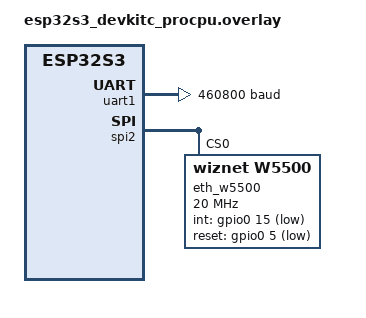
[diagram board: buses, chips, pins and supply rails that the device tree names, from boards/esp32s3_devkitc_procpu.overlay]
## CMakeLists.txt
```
# SPDX-License-Identifier: Apache-2.0

cmake_minimum_required(VERSION 3.28.0)

find_package(Zephyr REQUIRED HINTS $ENV{ZEPHYR_BASE})
project(openthread_border_router)

FILE(GLOB app_sources src/main.c)

target_sources_ifdef(CONFIG_SHIELD_NXP_M2_2EL_2LL_IEEE802154 app PRIVATE
    boards/mimxrt1060_evk_mimxrt1062_qspi_C/src/iw61x_init.c
)

# add Web Server source files
if(CONFIG_OTBR_WEB_SERVER)
  set(gen_dir ${ZEPHYR_BINARY_DIR}/include/generated/)

  if(${CONFIG_OPENTHREAD_NET_DIAG_VENDOR_NAME} STREQUAL "NXP")
    set(VENDOR_LOGO "nxp_logo.png")
  else()
    set(VENDOR_LOGO "zephyr_logo.png")
  endif()

  file(READ ${CMAKE_CURRENT_SOURCE_DIR}/src/web_server/static_web_resources/index.html INDEX_HTML_CONTENT)
  string(REPLACE "@BOARD_NAME@" "${CONFIG_OPENTHREAD_NET_DIAG_VENDOR_MODEL}" INDEX_HTML_CONTENT "${INDEX_HTML_CONTENT}")
  file(WRITE ${CMAKE_CURRENT_BINARY_DIR}/index.html "${INDEX_HTML_CONTENT}")

  generate_inc_file_for_target(app
    ${CMAKE_CURRENT_BINARY_DIR}/index.html
    ${gen_dir}/index.html.gz.inc
    --gzip
  )
  generate_inc_file_for_target(app
    src/web_server/static_web_resources/images/${VENDOR_LOGO}
    ${gen_dir}/images/vendor_logo.png.gz.inc
    --gzip
  )

  foreach(web_resource
    style.css
    app.js
    images/zephyr_logo.png
  )
  generate_inc_file_for_target(app
  src/web_server/static_web_resources/${web_resource}
  ${gen_dir}/${web_resource}.gz.inc
  --gzip
  )
  endforeach()

  message(STATUS "Adding Web Server and Rest APIs source files")
  list(APPEND app_sources src/web_server/web_server.c)
  list(APPEND app_sources src/web_server/rest_api.c)

  message(STATUS "Adding HTTP resource linker sections")
  zephyr_linker_sources(SECTIONS src/web_server/sections-rom.ld)
endif()

target_sources(app PRIVATE ${app_sources})
```

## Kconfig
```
# Private config options for OpenThread Border Router sample app

# Copyright 2025 NXP
# SPDX-License-Identifier: Apache-2.0

mainmenu "OpenThread Border Router sample application"

config OTBR_WEB_SERVER
	bool "Enable HTTP web server and REST API"
	help
	  Manage OpenThread Border Router with web interface.

module = OTBR
module-str = OpenThread Border Router
module-help = Enables logging for OpenThread Border Router sample
source "subsys/logging/Kconfig.template.log_config"

source "samples/net/common/Kconfig"
source "Kconfig.zephyr"
```

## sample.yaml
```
common:
  harness: net
  tags:
    - net
    - openthread
  depends_on: openthread
sample:
  description: Test Wi-Fi and IEEE 802.15.4 using the OpenThread Border Router
  name: OpenThread Border Router
tests:
  sample.net.openthread.border_router.rw612_openthread_rcp_host:
    build_only: true
    extra_args:
      # Disabling monolithic since CI environment doesn't use blobs
      - CONFIG_NXP_MONOLITHIC_NBU=n
      - CONFIG_NXP_MONOLITHIC_WIFI=n
      - EXTRA_CONF_FILE="overlay-ot-rcp-host-wifi-nxp.conf"
    platform_allow:
      - frdm_rw612
      - rd_rw612_bga
  sample.net.openthread.border_router.esp_rcp_host_wifi:
    build_only: true
    extra_args:
      - EXTRA_CONF_FILE="overlay-ot-rcp-host-wifi-esp.conf"
    platform_allow:
      - esp32s3_devkitc/esp32s3/procpu
      - esp_threadbr/esp32s3/procpu
  sample.net.openthread.border_router.esp_rcp_host_eth.esp_devkits:
    build_only: true
    extra_args:
      - EXTRA_CONF_FILE="overlay-ot-rcp-host-eth-esp.conf"
    platform_allow:
      - esp32s3_devkitc/esp32s3/procpu
  sample.net.openthread.border_router.esp_rcp_host_eth.esp_threadbr:
    build_only: true
    extra_args:
      - SHIELD="esp_threadbr_ethernet"
      - EXTRA_CONF_FILE="overlay-ot-rcp-host-eth-esp.conf"
    platform_allow:
      - esp_threadbr/esp32s3/procpu
```

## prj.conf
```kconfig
CONFIG_EARLY_CONSOLE=y
# Generic networking options
CONFIG_NETWORKING=y
CONFIG_NET_UDP=y
CONFIG_NET_TCP=y
CONFIG_NET_IPV6=y
CONFIG_NET_IPV4=y
CONFIG_NET_IPV4_MAPPING_TO_IPV6=y
CONFIG_NET_SOCKETS=y
CONFIG_NET_DHCPV4=y
CONFIG_NET_MGMT_EVENT=y
CONFIG_NET_MGMT_EVENT_INFO=y
CONFIG_NET_MGMT_EVENT_STACK_SIZE=2048
CONFIG_NET_CONNECTION_MANAGER=y
CONFIG_NET_IPV6_ROUTE_MCAST=y
CONFIG_NET_SOCKETS_SERVICE=y
CONFIG_NET_CONTEXT_RECV_PKTINFO=y
CONFIG_NET_CONTEXT_RECV_HOPLIMIT=y
CONFIG_ZVFS_POLL_MAX=16
CONFIG_NET_SOCKETS_SERVICE_STACK_SIZE=12288
CONFIG_NET_MAX_CONN=16
CONFIG_NET_CONNECTION_MANAGER_MONITOR_STACK_SIZE=2048
# Number of socket descriptors might need adjusting
# if there are more than 1 handlers defined.
CONFIG_ZVFS_OPEN_ADD_SIZE_NET_SAMPLE=16

# printing of scan results puts pressure on queues in new locking
# design in net_mgmt. So, use a higher timeout for a crowded
# environment.
CONFIG_NET_MGMT_EVENT_QUEUE_TIMEOUT=5000
CONFIG_NET_MGMT_EVENT_QUEUE_SIZE=16

# Generic OT options
CONFIG_NET_L2_OPENTHREAD=y
CONFIG_OPENTHREAD_SHELL=y
CONFIG_OPENTHREAD_THREAD_VERSION_1_4=y
CONFIG_OPENTHREAD_ZEPHYR_BORDER_ROUTER=y

# Net multicast routing
CONFIG_NET_IPV6_MAX_MCAST_ROUTES=10
CONFIG_NET_IPV6_MCAST_ROUTE_MLD_REPORTS=y
CONFIG_NET_IPV6_NBR_CACHE=y

# Kernel options
CONFIG_MAIN_STACK_SIZE=5120
CONFIG_SHELL_STACK_SIZE=4096
CONFIG_OPENTHREAD_THREAD_STACK_SIZE=8192
CONFIG_LOG_PROCESS_THREAD_STACK_SIZE=4096

CONFIG_NET_TX_STACK_SIZE=4096
CONFIG_NET_RX_STACK_SIZE=4096
CONFIG_NET_MGMT_EVENT_STACK_SIZE=8192
CONFIG_ENTROPY_GENERATOR=y
CONFIG_TEST_RANDOM_GENERATOR=y
CONFIG_INIT_STACKS=y

# Logging
CONFIG_NET_LOG=y
CONFIG_LOG=y
CONFIG_LOG_PROCESS_THREAD=y
CONFIG_NET_STATISTICS=y
CONFIG_PRINTK=y

# Network buffers
CONFIG_NET_PKT_RX_COUNT=16
CONFIG_NET_PKT_TX_COUNT=16
CONFIG_NET_BUF_RX_COUNT=64
CONFIG_NET_BUF_TX_COUNT=64
CONFIG_NET_MAX_CONTEXTS=15
CONFIG_NET_CONTEXT_NET_PKT_POOL=y

# IP address options
CONFIG_NET_IF_UNICAST_IPV6_ADDR_COUNT=6
CONFIG_NET_IF_MCAST_IPV6_ADDR_COUNT=6
CONFIG_NET_IF_MAX_IPV4_COUNT=2
CONFIG_NET_IF_MAX_IPV6_COUNT=6

# DNS resolver required by DNS upstream resolver
CONFIG_DNS_RESOLVER=y
CONFIG_DNS_RESOLVER_PACKET_FORWARDING=y
CONFIG_DNS_RESOLVER_MAX_SERVERS=5
CONFIG_DNS_NUM_CONCUR_QUERIES=8
CONFIG_DNS_RESOLVER_MAX_NAME_LEN=128
CONFIG_DNS_RESOLVER_PRIVATE_RR_SUPPORT=y
CONFIG_DNS_RESOLVER_QUERY_ALL_AVAILABLE_SERVERS=y

CONFIG_SYSTEM_WORKQUEUE_STACK_SIZE=4096
CONFIG_STACK_SENTINEL=y

# OT Border Router flags
CONFIG_OPENTHREAD_BACKBONE_ROUTER_MULTICAST_ROUTING=y
CONFIG_OPENTHREAD_SLAAC=y
CONFIG_OPENTHREAD_ENABLE_SERVICE=y
CONFIG_OPENTHREAD_BORDER_ROUTER=y
CONFIG_OPENTHREAD_BORDER_ROUTING=y
CONFIG_OPENTHREAD_BORDER_ROUTING_COUNTERS=y
CONFIG_OPENTHREAD_BORDER_AGENT=y
CONFIG_OPENTHREAD_BORDER_AGENT_ID=y
CONFIG_OPENTHREAD_NETDATA_PUBLISHER=y
CONFIG_OPENTHREAD_BACKBONE_ROUTER=y
CONFIG_OPENTHREAD_NAT64_TRANSLATOR=y
CONFIG_OPENTHREAD_DNSSD_SERVER=y
CONFIG_OPENTHREAD_EXTERNAL_HEAP=y
CONFIG_OPENTHREAD_JOINER=y
CONFIG_OPENTHREAD_COMMISSIONER=y
CONFIG_OPENTHREAD_PLATFORM_UDP=y
CONFIG_OPENTHREAD_MULTICAST_DNS=y
CONFIG_OPENTHREAD_MAX_STATECHANGE_HANDLERS=3
CONFIG_OPENTHREAD_INTERFACE_EARLY_UP=y
CONFIG_OPENTHREAD_ECDSA=y
CONFIG_OPENTHREAD_IP6_FRAGM=y
CONFIG_OPENTHREAD_COAP=y
CONFIG_OPENTHREAD_SETTINGS_RAM=y
CONFIG_OPENTHREAD_BORDER_AGENT_EPHEMERAL_KEY_ENABLE=y
CONFIG_OPENTHREAD_VERHOEFF_CHECKSUM=y
CONFIG_OPENTHREAD_BORDER_AGENT_MESHCOP_SERVICE=y
CONFIG_OPENTHREAD_TREL=y
CONFIG_OPENTHREAD_TREL_MANAGE_DNSSD=y
CONFIG_OPENTHREAD_BORDER_ROUTING_DHCP6_PD=y
CONFIG_OPENTHREAD_BORDER_ROUTING_DHCP6_PD_CLIENT=y
CONFIG_OPENTHREAD_DHCP6_CLIENT=y
CONFIG_OPENTHREAD_DHCP6_SERVER=y
CONFIG_OPENTHREAD_DNS_UPSTREAM_QUERY=y
CONFIG_OPENTHREAD_SRP_CLIENT=y
CONFIG_OPENTHREAD_SRP_SERVER=y
CONFIG_OPENTHREAD_SRP_ADV_PROXY=y
CONFIG_OPENTHREAD_DNSSD_DISCOVERY_PROXY=y
CONFIG_OPENTHREAD_PING_SENDER=y
CONFIG_OPENTHREAD_LINK_METRICS_INITIATOR=y
CONFIG_OPENTHREAD_DUA=y
CONFIG_OPENTHREAD_MLR=y
CONFIG_OPENTHREAD_DNS_CLIENT=y
CONFIG_OPENTHREAD_DNS_CLIENT_OVER_TCP=y
CONFIG_OPENTHREAD_TCP_ENABLE=y
CONFIG_OPENTHREAD_NETDIAG_VENDOR_INFO=y
CONFIG_OPENTHREAD_LINK_METRICS_SUBJECT=y
CONFIG_OPENTHREAD_LINK_METRICS_MANAGER=y
CONFIG_OPENTHREAD_LINK_METRICS_INITIATOR=y
CONFIG_OPENTHREAD_MAC_FILTER=y
CONFIG_NET_SOCKETS_INET_RAW=y

#PSA related
CONFIG_MBEDTLS_PSA_CRYPTO_LEGACY_RNG=y
```

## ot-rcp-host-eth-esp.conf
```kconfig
#
# Copyright (c) 2026 Espressif Systems (Shanghai) Co., Ltd.
#

CONFIG_SOC_FAMILY_ESPRESSIF_SPIRAM=y
CONFIG_SOC_FAMILY_ESPRESSIF_SPIRAM_BSS_RELOC_LIBS_AND_OBJS="libopenthread-ftd.a libopenthread-cli-ftd.a"

# Generic network options
CONFIG_SPI=y
CONFIG_ETH_DRIVER=y
CONFIG_NET_L2_ETHERNET_MGMT=y

CONFIG_NET_CONFIG_AUTO_INIT=y
CONFIG_NET_CONFIG_NEED_IPV4=y
CONFIG_NET_CONFIG_SETTINGS=y

# lib & os
CONFIG_EVENTS=y

# CPP library
CONFIG_CPP=y

# Use NVS as settings backend
CONFIG_NVS=y

# Shell
CONFIG_SHELL_ARGC_MAX=26
CONFIG_SHELL_CMD_BUFF_SIZE=512
CONFIG_SHELL_STACK_SIZE=5120

# Network shell
CONFIG_NET_SHELL=y
CONFIG_SHELL=y
CONFIG_SHELL_GETOPT=y
CONFIG_SHELL_TAB=y
CONFIG_SHELL_TAB_AUTOCOMPLETION=y

# Enable Openthread RCP host interface
CONFIG_IEEE802154=n
CONFIG_HDLC_RCP_IF=y
CONFIG_OPENTHREAD_MANUAL_START=y
CONFIG_OPENTHREAD_RCP_RESTORATION_MAX_COUNT=10

# Border Router mDNS host name and service base name
CONFIG_OPENTHREAD_ZEPHYR_BORDER_ROUTER_VENDOR_NAME="Espressif Systems"
CONFIG_OPENTHREAD_ZEPHYR_BORDER_ROUTER_BASE_SERVICE_NAME="ESP-BorderRouter"

# As per Thread v1.2.0 Conformance, a Thread Border Router MUST be able to hold a Multicast Listener
# Table in memory with at least 75 entries.
# 75 entries for conformance, 10 extra for other purposes, if any.
CONFIG_NET_IPV6_MAX_MCAST_ROUTES=85
CONFIG_NET_IF_MCAST_IPV6_ADDR_COUNT=85

# Network diagnostics
CONFIG_OPENTHREAD_NET_DIAG_VENDOR_NAME="Espressif Systems"
CONFIG_OPENTHREAD_NET_DIAG_VENDOR_MODEL="ESP-BR"
CONFIG_OPENTHREAD_NET_DIAG_VENDOR_SW_VERSION="v1.0.0"
```

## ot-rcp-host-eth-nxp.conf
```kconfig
#
# Copyright 2025, NXP
#
# Generic Ethernet options
CONFIG_ETH_DRIVER=y
CONFIG_NET_DHCPV4=y
CONFIG_ZVFS_EVENTFD_MAX=2
CONFIG_NET_CONFIG_SETTINGS=y
CONFIG_NET_CONFIG_AUTO_INIT=y
CONFIG_NET_CONFIG_NEED_IPV4=y
CONFIG_NET_CONFIG_NEED_IPV6=n
CONFIG_IEEE802154_NET_IF_NO_AUTO_START=y

# lib & os
CONFIG_EVENTS=y

# CPP library
CONFIG_CPP=y

# Use NVS as settings backend
CONFIG_NVS=y

# IMU & FW loader
CONFIG_NXP_RF_IMU=y
CONFIG_NXP_FW_LOADER=y

# Shell
CONFIG_SHELL_ARGC_MAX=26
CONFIG_SHELL_CMD_BUFF_SIZE=512
CONFIG_SHELL_STACK_SIZE=5120

# Network shell
CONFIG_NET_SHELL=y
CONFIG_SHELL=y

# Enable Openthread RCP host interface
CONFIG_HDLC_RCP_IF=y
CONFIG_OPENTHREAD_MANUAL_START=y
CONFIG_OPENTHREAD_RCP_RESTORATION_MAX_COUNT=10

#Border Router mDNS host name and service base name
CONFIG_OPENTHREAD_ZEPHYR_BORDER_ROUTER_VENDOR_NAME="NXP"
CONFIG_OPENTHREAD_ZEPHYR_BORDER_ROUTER_BASE_SERVICE_NAME="NXP-BorderRouter"

#As per Thread v1.2.0 Conformance, a Thread Border Router MUST be able to hold a Multicast Listener
#Table in memory with at least 75 entries.
#75 entries for conformance, 10 extra for other purposes, if any.
CONFIG_NET_IPV6_MAX_MCAST_ROUTES=85
CONFIG_NET_IF_MCAST_IPV6_ADDR_COUNT=85

# Network diagnostics
CONFIG_OPENTHREAD_NET_DIAG_VENDOR_NAME="NXP"
CONFIG_OPENTHREAD_NET_DIAG_VENDOR_MODEL="RW612"
CONFIG_OPENTHREAD_NET_DIAG_VENDOR_SW_VERSION="v1.0.0"
```

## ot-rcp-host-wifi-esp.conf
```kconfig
#
# Copyright (c) 2026 Espressif Systems (Shanghai) Co., Ltd.
#

CONFIG_SOC_FAMILY_ESPRESSIF_SPIRAM=y
CONFIG_SOC_FAMILY_ESPRESSIF_SPIRAM_BSS_RELOC_LIBS_AND_OBJS="libopenthread-ftd.a libopenthread-cli-ftd.a"

# Generic WIFI options
CONFIG_WIFI=y
CONFIG_WIFI_LOG_LEVEL_ERR=n
CONFIG_NET_L2_WIFI_SHELL=y
CONFIG_ETH_DRIVER=n

CONFIG_NET_CONFIG_AUTO_INIT=y
CONFIG_NET_CONFIG_NEED_IPV4=y
CONFIG_NET_CONFIG_SETTINGS=y

# lib & os
CONFIG_EVENTS=y

# CPP library
CONFIG_CPP=y

# Use NVS as settings backend
CONFIG_NVS=y

# Shell
CONFIG_SHELL_ARGC_MAX=26
CONFIG_SHELL_CMD_BUFF_SIZE=512
CONFIG_SHELL_STACK_SIZE=5120

# Network shell
CONFIG_NET_SHELL=y
CONFIG_SHELL=y
CONFIG_SHELL_GETOPT=y
CONFIG_SHELL_TAB=y
CONFIG_SHELL_TAB_AUTOCOMPLETION=y

# Enable Openthread RCP host interface
CONFIG_IEEE802154=n
CONFIG_HDLC_RCP_IF=y
CONFIG_OPENTHREAD_MANUAL_START=y
CONFIG_OPENTHREAD_RCP_RESTORATION_MAX_COUNT=10

#Border Router mDNS host name and service base name
CONFIG_OPENTHREAD_ZEPHYR_BORDER_ROUTER_VENDOR_NAME="Espressif Systems"
CONFIG_OPENTHREAD_ZEPHYR_BORDER_ROUTER_BASE_SERVICE_NAME="ESP-BorderRouter"

#As per Thread v1.2.0 Conformance, a Thread Border Router MUST be able to hold a Multicast Listener
#Table in memory with at least 75 entries.
#75 entries for conformance, 10 extra for other purposes, if any.
CONFIG_NET_IPV6_MAX_MCAST_ROUTES=85
CONFIG_NET_IF_MCAST_IPV6_ADDR_COUNT=85

# Network diagnostics
CONFIG_OPENTHREAD_NET_DIAG_VENDOR_NAME="Espressif Systems"
CONFIG_OPENTHREAD_NET_DIAG_VENDOR_MODEL="ESP-BR"
CONFIG_OPENTHREAD_NET_DIAG_VENDOR_SW_VERSION="v1.0.0"
```

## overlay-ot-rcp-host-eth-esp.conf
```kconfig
#
# Copyright (c) 2026 Espressif Systems (Shanghai) Co., Ltd.
#

CONFIG_SOC_FAMILY_ESP32_SPIRAM=y
CONFIG_SOC_FAMILY_ESP32_SPIRAM_BSS_RELOC_LIBS_AND_OBJS="libopenthread-ftd.a libopenthread-cli-ftd.a"

# Generic network options
CONFIG_SPI=y
CONFIG_ETH_DRIVER=y
CONFIG_NET_L2_ETHERNET_MGMT=y

CONFIG_NET_CONFIG_AUTO_INIT=y
CONFIG_NET_CONFIG_NEED_IPV4=y
CONFIG_NET_CONFIG_SETTINGS=y

# lib & os
CONFIG_EVENTS=y

# CPP library
CONFIG_CPP=y

# Use NVS as settings backend
CONFIG_NVS=y

# Shell
CONFIG_SHELL_ARGC_MAX=26
CONFIG_SHELL_CMD_BUFF_SIZE=512
CONFIG_SHELL_STACK_SIZE=5120

# Network shell
CONFIG_NET_SHELL=y
CONFIG_SHELL=y
CONFIG_SHELL_GETOPT=y
CONFIG_SHELL_TAB=y
CONFIG_SHELL_TAB_AUTOCOMPLETION=y

# Enable Openthread RCP host interface
CONFIG_IEEE802154=n
CONFIG_HDLC_RCP_IF=y
CONFIG_OPENTHREAD_MANUAL_START=y
CONFIG_OPENTHREAD_RCP_RESTORATION_MAX_COUNT=10

# Border Router mDNS host name and service base name
CONFIG_OPENTHREAD_ZEPHYR_BORDER_ROUTER_VENDOR_NAME="Espressif Systems"
CONFIG_OPENTHREAD_ZEPHYR_BORDER_ROUTER_BASE_SERVICE_NAME="ESP-BorderRouter"

# As per Thread v1.2.0 Conformance, a Thread Border Router MUST be able to hold a Multicast Listener
# Table in memory with at least 75 entries.
# 75 entries for conformance, 10 extra for other purposes, if any.
CONFIG_NET_IPV6_MAX_MCAST_ROUTES=85
CONFIG_NET_IF_MCAST_IPV6_ADDR_COUNT=85

# Network diagnostics
CONFIG_OPENTHREAD_NET_DIAG_VENDOR_NAME="Espressif Systems"
CONFIG_OPENTHREAD_NET_DIAG_VENDOR_MODEL="ESP-BR"
CONFIG_OPENTHREAD_NET_DIAG_VENDOR_SW_VERSION="v1.0.0"
```

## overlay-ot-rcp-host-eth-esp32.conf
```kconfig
#
# Copyright 2025, Espressif Systems
#

CONFIG_ESP_SPIRAM=y

# Generic WIFI options <----
CONFIG_SPI=y
CONFIG_ETH_W5500=y
CONFIG_ETH_DRIVER=y
CONFIG_NET_L2_ETHERNET=y
CONFIG_NET_L2_ETHERNET_MGMT=y
# CONFIG_NET_IPV4_AUTO=y
# CONFIG_NET_IPV4_ACD=y

CONFIG_NET_CONFIG_AUTO_INIT=y
CONFIG_NET_CONFIG_NEED_IPV4=y
CONFIG_NET_CONFIG_SETTINGS=y
CONFIG_NET_DHCPV4=n
CONFIG_NET_CONFIG_MY_IPV4_ADDR="192.168.15.14"
CONFIG_NET_CONFIG_MY_IPV4_NETMASK="255.255.255.0"
CONFIG_NET_CONFIG_MY_IPV4_GW="192.168.15.1"

# lib & os
CONFIG_EVENTS=y

# CPP library
CONFIG_CPP=y

# Use NVS as settings backend
CONFIG_NVS=y

# Shell
CONFIG_SHELL_ARGC_MAX=26
CONFIG_SHELL_CMD_BUFF_SIZE=512
CONFIG_SHELL_STACK_SIZE=5120

# Network shell
CONFIG_NET_SHELL=y
CONFIG_SHELL=y
CONFIG_SHELL_GETOPT=y
CONFIG_SHELL_TAB=y
CONFIG_SHELL_TAB_AUTOCOMPLETION=y

# Enable Openthread RCP host interface
CONFIG_IEEE802154=n
CONFIG_HDLC_RCP_IF=y
CONFIG_OPENTHREAD_MANUAL_START=y
CONFIG_OPENTHREAD_RCP_RESTORATION_MAX_COUNT=10

# CONFIG_OPENTHREAD_PANID=4660
# CONFIG_OPENTHREAD_XPANID="11:11:11:11:22:22:22:22"
# CONFIG_OPENTHREAD_NETWORKKEY="00:11:22:33:44:55:66:77:88:99:aa:bb:cc:dd:ee:ff"
# CONFIG_OPENTHREAD_CHANNEL=15
# CONFIG_OPENTHREAD_NETWORK_NAME="OpenThreadDemo"

#Border Router mDNS host name and service base name
CONFIG_OPENTHREAD_ZEPHYR_BORDER_ROUTER_VENDOR_NAME="Espressif Systems"
CONFIG_OPENTHREAD_ZEPHYR_BORDER_ROUTER_BASE_SERVICE_NAME="ESP-BorderRouter"

#As per Thread v1.2.0 Conformance, a Thread Border Router MUST be able to hold a Multicast Listener
#Table in memory with at least 75 entries.
#75 entries for conformance, 10 extra for other purposes, if any.
CONFIG_NET_MAX_MCAST_ROUTES=85
CONFIG_NET_IF_MCAST_IPV6_ADDR_COUNT=85

# Network diagnostics
CONFIG_OPENTHREAD_NET_DIAG_VENDOR_NAME="Espressif Systems"
CONFIG_OPENTHREAD_NET_DIAG_VENDOR_MODEL="ESP-BR"
CONFIG_OPENTHREAD_NET_DIAG_VENDOR_SW_VERSION="v1.0.0"
```

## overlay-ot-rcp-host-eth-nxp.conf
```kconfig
#
# Copyright 2025, NXP
#
# Generic Ethernet options
CONFIG_ETH_DRIVER=y
CONFIG_NET_L2_ETHERNET=y
CONFIG_NET_DHCPV4=y
CONFIG_ZVFS_EVENTFD_MAX=2
CONFIG_NET_CONFIG_SETTINGS=y
CONFIG_NET_CONFIG_AUTO_INIT=y
CONFIG_NET_CONFIG_NEED_IPV4=y
CONFIG_NET_CONFIG_NEED_IPV6=n
CONFIG_IEEE802154_NET_IF_NO_AUTO_START=y

# lib & os
CONFIG_EVENTS=y

# CPP library
CONFIG_CPP=y

# Use NVS as settings backend
CONFIG_NVS=y

# IMU & FW loader
CONFIG_NXP_RF_IMU=y
CONFIG_NXP_FW_LOADER=y

# Shell
CONFIG_SHELL_ARGC_MAX=26
CONFIG_SHELL_CMD_BUFF_SIZE=512
CONFIG_SHELL_STACK_SIZE=5120

# Network shell
CONFIG_NET_SHELL=y
CONFIG_SHELL=y

# Enable Openthread RCP host interface
CONFIG_HDLC_RCP_IF=y
CONFIG_OPENTHREAD_MANUAL_START=y
CONFIG_OPENTHREAD_RCP_RESTORATION_MAX_COUNT=10

#Border Router mDNS host name and service base name
CONFIG_OPENTHREAD_ZEPHYR_BORDER_ROUTER_VENDOR_NAME="NXP"
CONFIG_OPENTHREAD_ZEPHYR_BORDER_ROUTER_BASE_SERVICE_NAME="NXP-BorderRouter"

#As per Thread v1.2.0 Conformance, a Thread Border Router MUST be able to hold a Multicast Listener
#Table in memory with at least 75 entries.
#75 entries for conformance, 10 extra for other purposes, if any.
CONFIG_NET_IPV6_MAX_MCAST_ROUTES=85
CONFIG_NET_IF_MCAST_IPV6_ADDR_COUNT=85

# Network diagnostics
CONFIG_OPENTHREAD_NET_DIAG_VENDOR_NAME="NXP"
CONFIG_OPENTHREAD_NET_DIAG_VENDOR_MODEL="RW612"
CONFIG_OPENTHREAD_NET_DIAG_VENDOR_SW_VERSION="v1.0.0"
```

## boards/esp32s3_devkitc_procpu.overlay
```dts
/*
 * Copyright (c) 2026 Espressif Systems (Shanghai) Co., Ltd.
 *
 * SPDX-License-Identifier: Apache-2.0
 */

/ {
	chosen {
		zephyr,hdlc-rcp-if = &hdlc_rcp_if;
		zephyr,ot-uart = &uart1;
	};

	hdlc_rcp_if: hdlc_rcp_if {
		compatible = "uart,hdlc-rcp-if";
	};
};

&uart1_default {
	group1 {
		pinmux = <UART1_TX_GPIO17>;
		output-high;
	};

	group2 {
		pinmux = <UART1_RX_GPIO18>;
		bias-pull-up;
	};
};

&uart1 {
	current-speed = <460800>;
	pinctrl-0 = <&uart1_default>;
	pinctrl-names = "default";
	status = "okay";
};

&spim2_default {
	group1 {
		pinmux = <SPIM2_MISO_GPIO2>,
			 <SPIM2_SCLK_GPIO6>,
			 <SPIM2_CSEL_GPIO10>;
	};

	group2 {
		pinmux = <SPIM2_MOSI_GPIO7>;
		output-low;
	};
};

&spi2 {
	pinctrl-0 = <&spim2_default>;
	pinctrl-names = "default";
	status = "okay";

	eth_w5500: eth-w5500@0 {
		compatible = "wiznet,w5500";
		reg = <0x0>;
		spi-max-frequency = <DT_FREQ_M(20)>;
		int-gpios = <&gpio0 15 GPIO_ACTIVE_LOW>;
		reset-gpios = <&gpio0 5 GPIO_ACTIVE_LOW>;
		zephyr,random-mac-address;
		status = "okay";
	};
};

&psram0 {
	size = <DT_SIZE_M(2)>;
};
```

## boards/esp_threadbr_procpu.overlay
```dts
/*
 * Copyright (c) 2026 Espressif Systems (Shanghai) Co., Ltd.
 *
 * SPDX-License-Identifier: Apache-2.0
 */

/ {
	chosen {
		zephyr,hdlc-rcp-if = &hdlc_rcp_if;
		zephyr,ot-uart = &uart1;
	};

	hdlc_rcp_if: hdlc_rcp_if {
		compatible = "uart,hdlc-rcp-if";
	};
};

&psram0 {
	size = <DT_SIZE_M(2)>;
};
```

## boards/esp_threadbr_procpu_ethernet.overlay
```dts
/*
 * Copyright (c) 2026 Espressif Systems (Shanghai) Co., Ltd.
 *
 * SPDX-License-Identifier: Apache-2.0
 */

#include "esp_threadbr_procpu.overlay"
```

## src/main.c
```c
/*
 * Copyright 2025-2026 NXP
 *
 * SPDX-License-Identifier: Apache-2.0
 */

#if defined(CONFIG_OTBR_WEB_SERVER) || defined(CONFIG_HDLC_RCP_IF_SPI_DEFERRED_INIT)
#include <zephyr/logging/log.h>
LOG_MODULE_REGISTER(border_router_main, CONFIG_OTBR_LOG_LEVEL);
#endif

#ifdef CONFIG_OTBR_WEB_SERVER
#include "web_server/web_server.h"
#endif

int main(void)
{
#ifdef CONFIG_OTBR_WEB_SERVER
	/* Setup web server */
	LOG_INF("Zephyr OTBR Web Server setup ...");
	web_server_setup();
#endif

	/* Nothing to do here. The Border Router is automatically started in the background. */

	return 0;
}
```

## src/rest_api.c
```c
/*
 * Copyright (c) 2024 NXP
 * SPDX-License-Identifier: Apache-2.0
 */

#include <zephyr/kernel.h>
#include <zephyr/net/http/server.h>
#include <zephyr/net/http/service.h>
#include <zephyr/logging/log.h>
#include <zephyr/net/openthread.h>
#include <openthread/thread.h>
#include <openthread/dataset.h>
#include <openthread/instance.h>
#include <string.h>
#include <stdio.h>
#include "rest_api.h"

LOG_MODULE_REGISTER(rest_api, LOG_LEVEL_DBG);

/* Helper function to get OpenThread instance */
static otInstance *get_ot_instance(void)
{
    return openthread_get_default_instance();
}

/* REST API: GET /api/status */
int rest_api_status_handler(struct http_client_ctx *client, enum http_data_status status,
                           const struct http_request_ctx *request_ctx,
                           struct http_response_ctx *response_ctx, void *user_data)
{
    static char json_response[1024];

    LOG_DBG("Status API called, status: %d", status);
    if (status == HTTP_SERVER_DATA_FINAL) {
        otInstance *instance = get_ot_instance();
        if (!instance) {
            snprintf(json_response, sizeof(json_response),
                    "{\"error\":\"OpenThread instance not available\"}");
        } else {
            otDeviceRole role = otThreadGetDeviceRole(instance);
            const char *role_str = "unknown";
            
            switch (role) {
                case OT_DEVICE_ROLE_DISABLED: role_str = "disabled"; break;
                case OT_DEVICE_ROLE_DETACHED: role_str = "detached"; break;
                case OT_DEVICE_ROLE_CHILD: role_str = "child"; break;
                case OT_DEVICE_ROLE_ROUTER: role_str = "router"; break;
                case OT_DEVICE_ROLE_LEADER: role_str = "leader"; break;
            }

            uint16_t rloc16 = otThreadGetRloc16(instance);
            uint32_t partition_id = otThreadGetPartitionId(instance);
            uint8_t router_id = otThreadGetLeaderRouterId(instance);

            snprintf(json_response, sizeof(json_response),
                    "{\"status\":\"ok\",\"role\":\"%s\",\"rloc16\":\"0x%04x\",\"partition_id\":%u,\"router_id\":%u,\"thread_enabled\":%s}",
                    role_str, rloc16, partition_id, router_id,
                    otThreadGetDeviceRole(instance) != OT_DEVICE_ROLE_DISABLED ? "true" : "false");
        }
        response_ctx->body = json_response;
        response_ctx->body_len = strlen(json_response);
        response_ctx->final_chunk = true;
    }
    return 0;
}

/* REST API: GET /api/thread/start */
int rest_api_thread_start_handler(struct http_client_ctx *client, enum http_data_status status,
                                 const struct http_request_ctx *request_ctx,
                                 struct http_response_ctx *response_ctx, void *user_data)
{
    static char json_response[256];

    LOG_DBG("Thread start API called, status: %d", status);
    if (status == HTTP_SERVER_DATA_FINAL) {
        otInstance *instance = get_ot_instance();
        if (!instance) {
            snprintf(json_response, sizeof(json_response),
                    "{\"error\":\"OpenThread instance not available\"}");
        } else {
            otError error = otThreadSetEnabled(instance, true);
            if (error != OT_ERROR_NONE) {
                snprintf(json_response, sizeof(json_response),
                        "{\"error\":\"Failed to start Thread\",\"error_code\":%d}", error);
            } else {
                snprintf(json_response, sizeof(json_response),
                        "{\"status\":\"success\",\"message\":\"Thread network started\"}");
            }
        }
        response_ctx->body = json_response;
        response_ctx->body_len = strlen(json_response);
        response_ctx->final_chunk = true;
    }
    return 0;
}

/* REST API: GET /api/thread/stop */
int rest_api_thread_stop_handler(struct http_client_ctx *client, enum http_data_status status,
                                const struct http_request_ctx *request_ctx,
                                struct http_response_ctx *response_ctx, void *user_data)
{
    static char json_response[256];

    LOG_DBG("Thread stop API called, status: %d", status);
    if (status == HTTP_SERVER_DATA_FINAL) {
        otInstance *instance = get_ot_instance();
        if (!instance) {
            snprintf(json_response, sizeof(json_response),
                    "{\"error\":\"OpenThread instance not available\"}");
        } else {
            otError error = otThreadSetEnabled(instance, false);
            if (error != OT_ERROR_NONE) {
                snprintf(json_response, sizeof(json_response),
                        "{\"error\":\"Failed to stop Thread\",\"error_code\":%d}", error);
            } else {
                snprintf(json_response, sizeof(json_response),
                        "{\"status\":\"success\",\"message\":\"Thread network stopped\"}");
            }
        }
        response_ctx->body = json_response;
        response_ctx->body_len = strlen(json_response);
        response_ctx->final_chunk = true;
    }
    return 0;
}

int rest_api_init(void)
{
    LOG_INF("REST API initialized with OpenThread integration");
    return 0;
}
```

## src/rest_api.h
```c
/*
 * Copyright (c) 2024 NXP
 * SPDX-License-Identifier: Apache-2.0
 */

#ifndef REST_API_H
#define REST_API_H

#include <zephyr/net/http/server.h>

/* REST API initialization */
int rest_api_init(void);

/* REST API handlers */
int rest_api_status_handler(struct http_client_ctx *client, enum http_data_status status,
                           const struct http_request_ctx *request_ctx,
                           struct http_response_ctx *response_ctx, void *user_data);

int rest_api_thread_start_handler(struct http_client_ctx *client, enum http_data_status status,
                                 const struct http_request_ctx *request_ctx,
                                 struct http_response_ctx *response_ctx, void *user_data);

int rest_api_thread_stop_handler(struct http_client_ctx *client, enum http_data_status status,
                                const struct http_request_ctx *request_ctx,
                                struct http_response_ctx *response_ctx, void *user_data);

#endif /* REST_API_H */
```

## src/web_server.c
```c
/*
 * Copyright (c) 2024 NXP
 * SPDX-License-Identifier: Apache-2.0
 */

#include <zephyr/kernel.h>
#include <zephyr/net/http/server.h>
#include <zephyr/net/http/service.h>
#include <zephyr/logging/log.h>
#include <string.h>
#include "web_server.h"
#include "rest_api.h"

LOG_MODULE_REGISTER(web_server, LOG_LEVEL_DBG);

/* Enhanced HTML content with working REST API integration */
static const char index_html[] = 
    "<!DOCTYPE html>\n"
    "<html>\n"
    "<head>\n"
    "    <title>OpenThread Border Router - REST API Dashboard</title>\n"
    "    <meta charset=\"UTF-8\">\n"
    "    <style>\n"
    "        body { font-family: Arial, sans-serif; margin: 20px; background: #f5f5f5; }\n"
    "        .container { max-width: 1200px; margin: 0 auto; }\n"
    "        .header { background: #2c3e50; color: white; padding: 20px; text-align: center; border-radius: 8px; margin-bottom: 20px; }\n"
    "        .grid { display: grid; grid-template-columns: repeat(auto-fit, minmax(300px, 1fr)); gap: 20px; }\n"
    "        .card { background: white; border-radius: 8px; box-shadow: 0 2px 10px rgba(0,0,0,0.1); overflow: hidden; }\n"
    "        .card-header { background: #34495e; color: white; padding: 15px; font-weight: bold; }\n"
    "        .card-content { padding: 20px; }\n"
    "        .button { background: #3498db; color: white; padding: 10px 20px; border: none; border-radius: 5px; cursor: pointer; margin: 5px; }\n"
    "        .button:hover { background: #2980b9; }\n"
    "        .button.success { background: #27ae60; }\n"
    "        .button.danger { background: #e74c3c; }\n"
    "        pre { background: #f8f9fa; padding: 15px; border-radius: 5px; overflow-x: auto; font-size: 12px; }\n"
    "        .loading { color: #7f8c8d; font-style: italic; }\n"
    "        .error { color: #e74c3c; font-weight: bold; }\n"
    "        .status-online { color: #27ae60; font-weight: bold; }\n"
    "        .status-offline { color: #e74c3c; font-weight: bold; }\n"
    "    </style>\n"
    "</head>\n"
    "<body>\n"
    "    <div class=\"container\">\n"
    "        <div class=\"header\">\n"
    "            <h1>🌐 OpenThread Border Router</h1>\n"
    "            <p>REST API Dashboard & Control Panel</p>\n"
    "            <div id=\"connection-status\" class=\"status-online\">🟢 Connected</div>\n"
    "        </div>\n"
    "        <div class=\"grid\">\n"
    "            <div class=\"card\">\n"
    "                <div class=\"card-header\">�� Control Panel</div>\n"
    "                <div class=\"card-content\">\n"
    "                    <button class=\"button success\" onclick=\"startThread()\">▶️ Start Thread</button>\n"
    "                    <button class=\"button danger\" onclick=\"stopThread()\">⏹️ Stop Thread</button>\n"
    "                    <button class=\"button\" onclick=\"refreshAll()\">🔄 Refresh All</button>\n"
    "                    <div id=\"control-result\" style=\"margin-top: 10px;\"></div>\n"
    "                </div>\n"
    "            </div>\n"
    "            <div class=\"card\">\n"
    "                <div class=\"card-header\">📊 Border Router Status</div>\n"
    "                <div class=\"card-content\">\n"
    "                    <div id=\"status-content\" class=\"loading\">Loading status...</div>\n"
    "                </div>\n"
    "            </div>\n"
    "            <div class=\"card\">\n"
    "                <div class=\"card-header\">🔌 Available REST APIs</div>\n"
    "                <div class=\"card-content\">\n"
    "                    <div><strong>GET /api/status</strong> - Border router status</div>\n"
    "                    <div><strong>GET /api/thread/start</strong> - Start Thread network</div>\n"
    "                    <div><strong>GET /api/thread/stop</strong> - Stop Thread network</div>\n"
    "                    <br>\n"
    "                    <button class=\"button\" onclick=\"testAPI('/api/status')\">Test Status API</button>\n"
    "                </div>\n"
    "            </div>\n"
    "        </div>\n"
    "    </div>\n"
    "    <script>\n"
    "        function fetchAPI(url, method = 'GET') {\n"
    "            return fetch(url, { method: method })\n"
    "                .then(response => {\n"
    "                    if (response.headers.get('content-type')?.includes('application/json')) {\n"
    "                        return response.json();\n"
    "                    } else {\n"
    "                        return response.text().then(text => {\n"
    "                            try { return JSON.parse(text); } catch(e) { return {data: text}; }\n"
    "                        });\n"
    "                    }\n"
    "                })\n"
    "                .catch(error => ({ error: error.message }));\n"
    "        }\n"
    "        function refreshStatus() {\n"
    "            fetchAPI('/api/status').then(data => {\n"
    "                document.getElementById('status-content').innerHTML = '<pre>' + JSON.stringify(data, null, 2) + '</pre>';\n"
    "                updateConnectionStatus(true);\n"
    "            }).catch(error => {\n"
    "                document.getElementById('status-content').innerHTML = '<div class=\"error\">Failed to load status</div>';\n"
    "                updateConnectionStatus(false);\n"
    "            });\n"
    "        }\n"
    "        function updateConnectionStatus(connected) {\n"
    "            const statusEl = document.getElementById('connection-status');\n"
    "            if (connected) {\n"
    "                statusEl.innerHTML = '�� Connected';\n"
    "                statusEl.className = 'status-online';\n"
    "            } else {\n"
    "                statusEl.innerHTML = '🔴 Disconnected';\n"
    "                statusEl.className = 'status-offline';\n"
    "            }\n"
    "        }\n"
    "        function refreshAll() { refreshStatus(); }\n"
    "        function startThread() {\n"
    "            fetchAPI('/api/thread/start').then(data => {\n"
    "                document.getElementById('control-result').innerHTML = '<pre>' + JSON.stringify(data, null, 2) + '</pre>';\n"
    "                setTimeout(refreshStatus, 1000);\n"
    "            });\n"
    "        }\n"
    "        function stopThread() {\n"
    "            fetchAPI('/api/thread/stop').then(data => {\n"
    "                document.getElementById('control-result').innerHTML = '<pre>' + JSON.stringify(data, null, 2) + '</pre>';\n"
    "                setTimeout(refreshStatus, 1000);\n"
    "            });\n"
    "        }\n"
    "        function testAPI(endpoint) {\n"
    "            fetchAPI(endpoint).then(data => {\n"
    "                alert('API Test Result:\\n' + JSON.stringify(data, null, 2));\n"
    "            });\n"
    "        }\n"
    "        setInterval(refreshStatus, 10000);\n"
    "        refreshStatus();\n"
    "    </script>\n"
    "</body>\n"
    "</html>";

/* Static resource detail for index page */
static struct http_resource_detail_static index_resource_detail = {
    .common = {
        .type = HTTP_RESOURCE_TYPE_STATIC,
        .bitmask_of_supported_http_methods = BIT(HTTP_GET),
        .content_type = "text/html",
    },
    .static_data = index_html,
    .static_data_len = sizeof(index_html) - 1,
};

/* Dynamic resource details for APIs - using functions from rest_api.c */
static struct http_resource_detail_dynamic api_status_detail = {
    .common = {
        .type = HTTP_RESOURCE_TYPE_DYNAMIC,
        .bitmask_of_supported_http_methods = BIT(HTTP_GET),
    },
    .cb = rest_api_status_handler,
    .user_data = NULL,
};

static struct http_resource_detail_dynamic api_start_detail = {
    .common = {
        .type = HTTP_RESOURCE_TYPE_DYNAMIC,
        .bitmask_of_supported_http_methods = BIT(HTTP_GET),
    },
    .cb = rest_api_thread_start_handler,
    .user_data = NULL,
};

static struct http_resource_detail_dynamic api_stop_detail = {
    .common = {
        .type = HTTP_RESOURCE_TYPE_DYNAMIC,
        .bitmask_of_supported_http_methods = BIT(HTTP_GET),
    },
    .cb = rest_api_thread_stop_handler,
    .user_data = NULL,
};

/* Define HTTP service */
static uint16_t border_router_service_port = 8080;
HTTP_SERVICE_DEFINE(border_router_service, NULL, &border_router_service_port,
                    CONFIG_HTTP_SERVER_MAX_CLIENTS, 10, NULL, NULL, NULL);

/* Define HTTP resources */
HTTP_RESOURCE_DEFINE(index_resource, border_router_service, "/", &index_resource_detail);
HTTP_RESOURCE_DEFINE(api_status_resource, border_router_service, "/api/status", &api_status_detail);
HTTP_RESOURCE_DEFINE(api_start_resource, border_router_service, "/api/thread/start", &api_start_detail);
HTTP_RESOURCE_DEFINE(api_stop_resource, border_router_service, "/api/thread/stop", &api_stop_detail);

int web_server_init(void)
{
    int ret;

    LOG_INF("Initializing web server on port %d", border_router_service_port);

    /* Initialize REST API */
    ret = rest_api_init();
    if (ret < 0) {
        LOG_ERR("Failed to initialize REST API: %d", ret);
        return ret;
    }

    /* Start the HTTP server */
    ret = http_server_start();
    if (ret < 0) {
        LOG_ERR("Failed to start HTTP service: %d", ret);
        return ret;
    }

    LOG_INF("HTTP server started successfully");
    LOG_INF("Web interface available at: http://<device-ip>:%d/", border_router_service_port);
    LOG_INF("REST API endpoints:");
    LOG_INF("  GET  /api/status         - Border router status");
    LOG_INF("  GET  /api/thread/start   - Start Thread network");
    LOG_INF("  GET  /api/thread/stop    - Stop Thread network");

    return 0;
}
```
